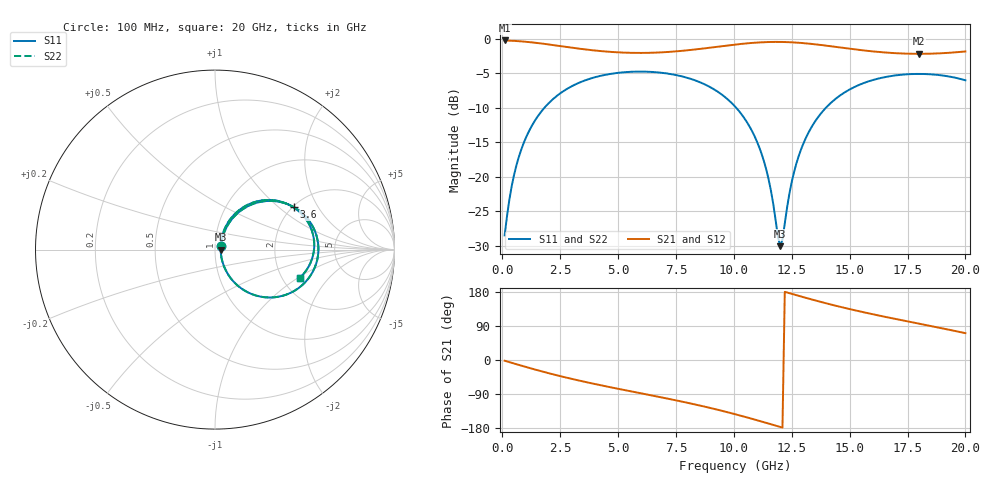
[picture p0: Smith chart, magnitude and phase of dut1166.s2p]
! Touchstone file exported from HFSS 2026.1.0
!  File:  C:/ffzhzh/LocalFiles/Ansys_Project_Files/temp_train_TSV_RDL_1166_1783313411_30076.aedt
!  Generated:  01:12:13 PM Jul  6, 2026
!  Design:  TSV_RDL
!  Project:  temp_train_TSV_RDL_1166_1783313411_30076
! Variables:
!  h_bsmrdl = 5.86um
!  h_ox = 20um
!  h_rdl = 5um
!  h_sub = 82.92um
!  h_tmrdl = 3.2um
!  h_tsv = 82.92um
!  h_via = 3um
!  l_bsmrdl = 827.41um
!  l_sub = 4938.14um
!  l_tmrdl = 486.79um
!  m_sub = 200um
!  pitch = 45.21um
!  r_tsv = 2.34um
!  s_tmrdl = 10um
!  w_bsmrdl = 20.18um
!  w_sub = 500um
!  w_tmrdl = 16.07um
!  x_tsv_center1 = 494.825um
!  x_tsv_center2 = 1342.415um
!  x_tsv_center3 = 1845.275um
!  x_tsv_center4 = 2692.865um
!  x_tsv_center5 = 3195.725um
!  x_tsv_center6 = 4043.315um
# GHz S MA R 50.000000
! Terminal data exported
! Port[1] = TM_RDL1_1_T1
! Port[2] = TM_RDL5_1_T1
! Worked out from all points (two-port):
!   200 points, 100 MHz to 20 GHz, reference 50 ohm
!   highest |S21| = -0.28 dB at 100 MHz (marker M1); lowest = -2.2 dB at 18 GHz (marker M2)
!   |S21| within 3 dB of the highest: start of sweep to end of sweep
!   lowest |S11| = -30.1 dB at 12 GHz (marker M3), VSWR 1.06, Z = 53.2 - j0.135 ohm
!   |S11| at or under -10 dB: start of sweep to 1.828 GHz; 10.09 GHz to 13.98 GHz (3.89 GHz wide, 32.3 % of centre)
!   |S22| runs from -30.1 to -4.8 dB; largest |S21 - S12| = 1.7e-14
!   S11 on the Smith chart (normalised r, x): 100 MHz: 1.07, +0.04; 3.6 GHz: 2.03, +1.28; 20 GHz: 2.49, -1.04
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0.1  0.03756 30.4  0.968 -1.9  0.968 -1.9  0.03756 30.4
! Gamma 0 0 0 0
! Port Impedance 50 0 50 0
0.5  0.1015 61.3  0.9615 -9.2  0.9615 -9.2  0.1015 61.3
1.2  0.2211 59.4  0.9408 -21.5  0.9408 -21.5  0.2211 59.4
2.2  0.3654 46.6  0.8962 -37.9  0.8962 -37.9  0.3654 46.6
3.5  0.4923 29.5  0.8369 -56.8  0.8369 -56.8  0.4923 29.5
3.6  0.4994 28.2  0.833 -58.1  0.833 -58.1  0.4994 28.2
5.2  0.5688 9.1  0.7911 -78.4  0.7911 -78.4  0.5688 9.1
6.8  0.5668 -9.2  0.7927 -97.7  0.7927 -97.7  0.5668 -9.2
8.7  0.4692 -32.3  0.8472 -122.5  0.8472 -122.5  0.4692 -32.4
10.1  0.3154 -51.0  0.9056 -143.8  0.9056 -143.8  0.3154 -51.0
10.8  0.2114 -59.5  0.9296 -155.5  0.9296 -155.5  0.2114 -59.6
11.3  0.1294 -62.5  0.9406 -164.2  0.9406 -164.2  0.1294 -62.5
11.6  0.07955 -58.4  0.944 -169.5  0.944 -169.5  0.0795 -58.6
12  0.03139 -2.3  0.9446 -176.6  0.9446 -176.6  0.03121 -2.3
12.1  0.03503 26.4  0.9439 -178.4  0.9439 -178.4  0.03486 26.5
12.4  0.07544 60.1  0.9404 176.3  0.9404 176.3  0.07535 60.2
12.6  0.1079 64.4  0.9366 172.8  0.9366 172.8  0.1079 64.5
13.4  0.235 60.3  0.9123 159.1  0.9123 159.1  0.235 60.4
14.7  0.3987 43.9  0.8567 138.7  0.8567 138.7  0.3987 43.9
16.7  0.532 19.4  0.7884 111.8  0.7884 111.8  0.532 19.4
18  0.5541 4.6  0.7746 95.9  0.7746 95.9  0.5541 4.6
20  0.4981 -18.3  0.806 70.8  0.806 70.8  0.4981 -18.3
